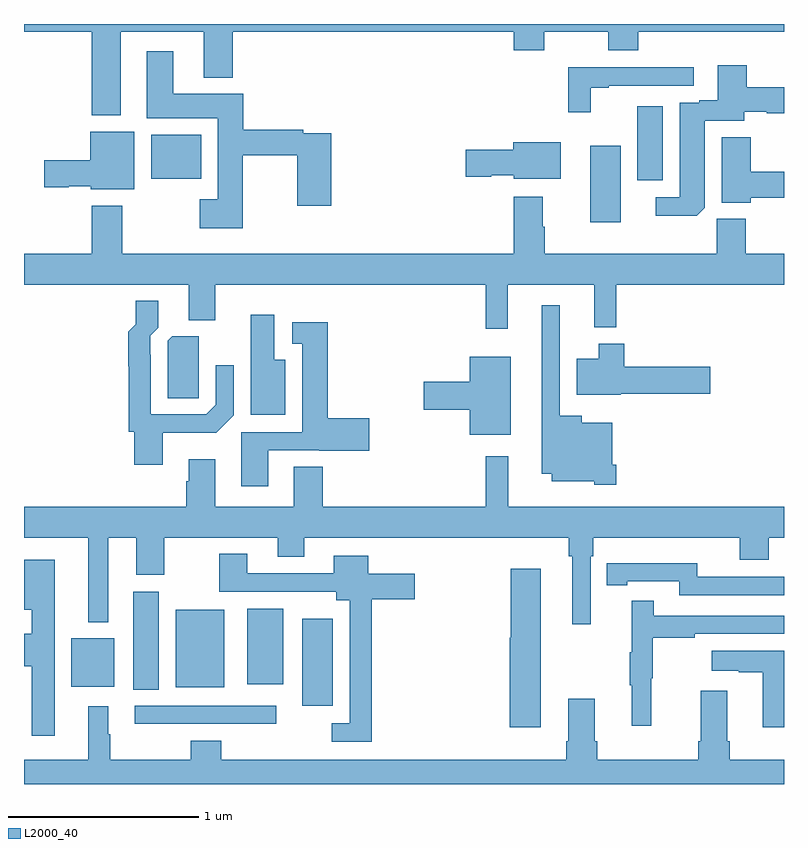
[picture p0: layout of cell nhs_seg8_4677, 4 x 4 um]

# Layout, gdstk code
import gdstk
lib = gdstk.Library(unit=1e-6, precision=1e-09)
def R(c, l, rs):  # rectangles x0, y0, x1, y1
    for r in rs: c.add(gdstk.rectangle(r[:2], r[2:], *l))
def P(c, l, *ps):  # polygons
    for p in ps: c.add(gdstk.Polygon(p, *l))
L2000_40 = (2000, 40)

nhs_seg8_4677 = lib.new_cell('nhs_seg8_4677')
R(nhs_seg8_4677, L2000_40, [(395.583,1086.216,396.328,1086.312), (396.464,1086.311,396.625,1086.769), (395.576,1086.397,395.71,1086.913), (395.798,1086.41,396.055,1086.817), (395.249,1086.413,395.476,1086.667), (396.176,1086.425,396.364,1086.823), (397.979,1088.856,398.14,1089.259), (398.228,1089.078,398.362,1089.466), (395.669,1089.086,395.932,1089.316)])
P(nhs_seg8_4677, L2000_40, [(395.509,1089.86),(395.945,1089.86),(395.945,1089.617),(396.098,1089.617),(396.098,1089.86),(397.577,1089.86),(397.577,1089.761),(397.737,1089.761),(397.737,1089.86),(398.074,1089.86),(398.074,1089.761),(398.234,1089.761),(398.234,1089.86),(399,1089.86),(399,1089.9),(395,1089.9),(395,1089.86),(395.357,1089.86),(395.357,1089.419),(395.509,1089.419)],
  [(396.15,1089.208),(396.439,1089.208),(396.439,1088.943),(396.617,1088.943),(396.617,1089.324),(396.47,1089.324),(396.47,1089.344),(396.155,1089.344),(396.155,1089.532),(395.785,1089.532),(395.785,1089.757),(395.645,1089.757),(395.645,1089.404),(396.02,1089.404),(396.02,1088.977),(395.925,1088.977),(395.925,1088.825),(396.15,1088.825)],
  [(398.584,1088.932),(398.584,1089.39),(398.791,1089.39),(398.791,1089.437),(398.908,1089.437),(398.908,1089.43),(399,1089.43),(399,1089.567),(398.804,1089.567),(398.804,1089.682),(398.651,1089.682),(398.651,1089.499),(398.555,1089.499),(398.555,1089.486),(398.45,1089.486),(398.45,1088.988),(398.325,1088.988),(398.325,1088.891),(398.542,1088.891)],
  [(397.983,1089.564),(398.077,1089.564),(398.077,1089.576),(398.524,1089.576),(398.524,1089.672),(397.864,1089.672),(397.864,1089.435),(397.983,1089.435)],
  [(395.581,1089.334),(395.348,1089.334),(395.348,1089.182),(395.106,1089.182),(395.106,1089.04),(395.235,1089.04),(395.235,1089.047),(395.352,1089.047),(395.352,1089.029),(395.581,1089.029)],
  [(398.825,1088.986),(399,1088.986),(399,1089.123),(398.825,1089.123),(398.825,1089.305),(398.672,1089.305),(398.672,1088.96),(398.825,1088.96)],
  [(397.825,1089.277),(397.574,1089.277),(397.574,1089.239),(397.326,1089.239),(397.326,1089.097),(397.458,1089.097),(397.458,1089.104),(397.578,1089.104),(397.578,1089.086),(397.825,1089.086)],
  [(397.547,1088.528),(398,1088.528),(398,1088.303),(398.117,1088.303),(398.117,1088.528),(399,1088.528),(399,1088.692),(398.798,1088.692),(398.798,1088.874),(398.647,1088.874),(398.647,1088.692),(397.742,1088.692),(397.742,1088.834),(397.729,1088.834),(397.729,1088.992),(397.577,1088.992),(397.577,1088.692),(395.517,1088.692),(395.517,1088.944),(395.357,1088.944),(395.357,1088.692),(395,1088.692),(395,1088.528),(395.867,1088.528),(395.867,1088.341),(396.007,1088.341),(396.007,1088.528),(397.429,1088.528),(397.429,1088.295),(397.547,1088.295)],
  [(395.731,1087.748),(396.011,1087.748),(396.105,1087.842),(396.105,1088.104),(396.009,1088.104),(396.009,1087.896),(395.958,1087.845),(395.667,1087.845),(395.667,1088.159),(395.664,1088.159),(395.664,1088.259),(395.707,1088.302),(395.707,1088.443),(395.587,1088.443),(395.587,1088.319),(395.549,1088.28),(395.549,1088.098),(395.551,1088.098),(395.551,1087.755),(395.579,1087.755),(395.579,1087.581),(395.731,1087.581)],
  [(398.117,1087.579),(398.095,1087.579),(398.095,1087.801),(397.936,1087.801),(397.936,1087.837),(397.821,1087.837),(397.821,1088.419),(397.724,1088.419),(397.724,1087.532),(397.778,1087.532),(397.778,1087.493),(398.001,1087.493),(398.001,1087.475),(398.117,1087.475)],
  [(396.376,1088.134),(396.316,1088.134),(396.316,1088.371),(396.194,1088.371),(396.194,1087.844),(396.376,1087.844)],
  [(396.286,1087.656),(396.555,1087.656),(396.555,1087.655),(396.817,1087.655),(396.817,1087.826),(396.599,1087.826),(396.599,1088.329),(396.411,1088.329),(396.411,1088.216),(396.464,1088.216),(396.464,1087.752),(396.143,1087.752),(396.143,1087.467),(396.286,1087.467)],
  [(395.919,1088.041),(395.92,1088.041),(395.92,1088.256),(395.781,1088.256),(395.757,1088.232),(395.757,1087.93),(395.919,1087.93)],
  [(398.142,1087.955),(398.611,1087.955),(398.611,1088.097),(398.159,1088.097),(398.159,1088.218),(398.024,1088.218),(398.024,1088.137),(397.91,1088.137),(397.91,1087.949),(398.142,1087.949)],
  [(397.561,1088.149),(397.346,1088.149),(397.346,1088.018),(397.104,1088.018),(397.104,1087.871),(397.346,1087.871),(397.346,1087.739),(397.561,1087.739)],
  [(397.983,1087.1),(397.997,1087.1),(397.997,1087.196),(398.768,1087.196),(398.768,1087.079),(398.921,1087.079),(398.921,1087.196),(399,1087.196),(399,1087.36),(397.548,1087.36),(397.548,1087.624),(397.429,1087.624),(397.429,1087.36),(396.572,1087.36),(396.572,1087.57),(396.419,1087.57),(396.419,1087.36),(396.007,1087.36),(396.007,1087.609),(395.867,1087.609),(395.867,1087.493),(395.855,1087.493),(395.855,1087.36),(395,1087.36),(395,1087.196),(395.339,1087.196),(395.339,1086.752),(395.443,1086.752),(395.443,1087.196),(395.591,1087.196),(395.591,1087.002),(395.739,1087.002),(395.739,1087.196),(396.335,1087.196),(396.335,1087.097),(396.475,1087.097),(396.475,1087.196),(397.867,1087.196),(397.867,1087.1),(397.886,1087.1),(397.886,1086.741),(397.983,1086.741)],
  [(396.83,1086.872),(397.057,1086.872),(397.057,1087.006),(396.811,1087.006),(396.811,1087.102),(396.629,1087.102),(396.629,1087.008),(396.175,1087.008),(396.175,1087.111),(396.028,1087.111),(396.028,1086.912),(396.644,1086.912),(396.644,1086.866),(396.714,1086.866),(396.714,1086.219),(396.621,1086.219),(396.621,1086.123),(396.83,1086.123)],
  [(395.161,1087.081),(395,1087.081),(395,1086.818),(395.04,1086.818),(395.04,1086.691),(395,1086.691),(395,1086.521),(395.04,1086.521),(395.04,1086.153),(395.161,1086.153)],
  [(399,1086.99),(398.544,1086.99),(398.544,1087.063),(398.176,1087.063),(398.176,1087.062),(398.068,1087.062),(398.068,1086.946),(398.176,1086.946),(398.176,1086.966),(398.448,1086.966),(398.448,1086.894),(399,1086.894)],
  [(397.72,1087.033),(397.562,1087.033),(397.562,1086.669),(397.556,1086.669),(397.556,1086.198),(397.72,1086.198)],
  [(398.3,1086.456),(398.308,1086.456),(398.308,1086.67),(398.531,1086.67),(398.531,1086.69),(399,1086.69),(399,1086.786),(398.315,1086.786),(398.315,1086.865),(398.198,1086.865),(398.198,1086.593),(398.187,1086.593),(398.187,1086.419),(398.198,1086.419),(398.198,1086.207),(398.3,1086.207)],
  [(399,1086.601),(398.619,1086.601),(398.619,1086.497),(398.762,1086.497),(398.762,1086.487),(398.888,1086.487),(398.888,1086.198),(399,1086.198)],
  [(399,1086.028),(398.714,1086.028),(398.714,1086.124),(398.701,1086.124),(398.701,1086.391),(398.561,1086.391),(398.561,1086.124),(398.549,1086.124),(398.549,1086.028),(398.018,1086.028),(398.018,1086.124),(398.005,1086.124),(398.005,1086.349),(397.865,1086.349),(397.865,1086.124),(397.853,1086.124),(397.853,1086.028),(396.038,1086.028),(396.038,1086.127),(395.878,1086.127),(395.878,1086.028),(395.453,1086.028),(395.453,1086.161),(395.443,1086.161),(395.443,1086.31),(395.339,1086.31),(395.339,1086.028),(395,1086.028),(395,1085.9),(399,1085.9)])

lib.write_gds('nhs_seg8_4677.gds')
